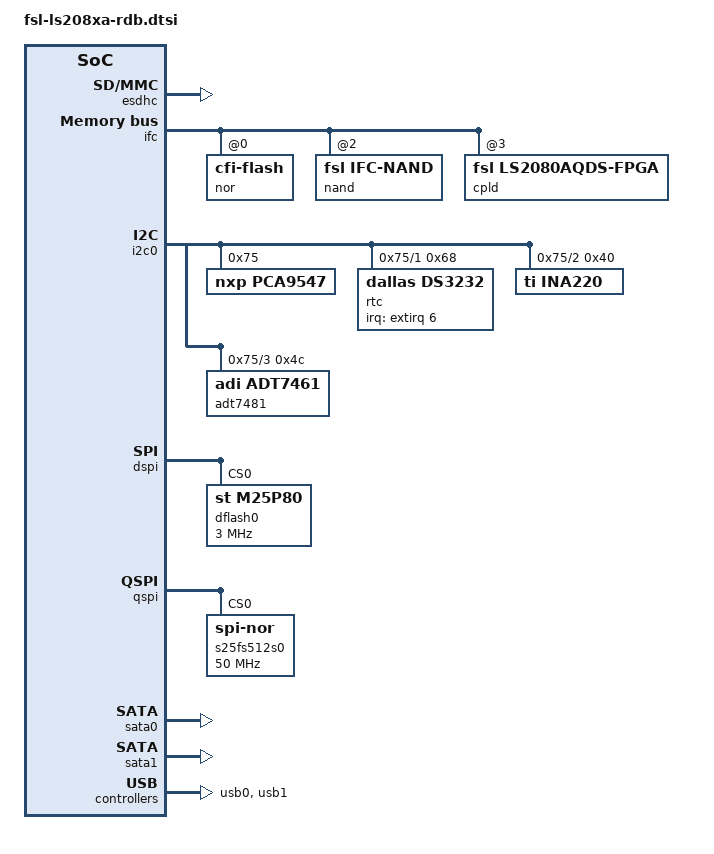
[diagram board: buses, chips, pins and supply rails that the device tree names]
// SPDX-License-Identifier: (GPL-2.0+ OR MIT)
/*
 * Device Tree file for Freescale LS2080A RDB Board.
 *
 * Copyright 2016 Freescale Semiconductor, Inc.
 * Copyright 2017-2020 NXP
 *
 * Abhimanyu Saini <abhimanyu.saini@nxp.com>
 *
 */

&esdhc {
	status = "okay";
};

&ifc {
	status = "okay";
	#address-cells = <2>;
	#size-cells = <1>;
	ranges = <0x0 0x0 0x5 0x80000000 0x08000000
		  0x2 0x0 0x5 0x30000000 0x00010000
		  0x3 0x0 0x5 0x20000000 0x00010000>;

	nor@0,0 {
		#address-cells = <1>;
		#size-cells = <1>;
		compatible = "cfi-flash";
		reg = <0x0 0x0 0x8000000>;
		bank-width = <2>;
		device-width = <1>;
	};

	nand@2,0 {
	     compatible = "fsl,ifc-nand";
	     reg = <0x2 0x0 0x10000>;
	};

	cpld@3,0 {
	     reg = <0x3 0x0 0x10000>;
	     compatible = "fsl,ls2080aqds-fpga", "fsl,fpga-qixis";
	};

};

&i2c0 {
	status = "okay";
	pca9547@75 {
		compatible = "nxp,pca9547";
		reg = <0x75>;
		#address-cells = <1>;
		#size-cells = <0>;
		idle-state = <0>;

		i2c@1 {
			#address-cells = <1>;
			#size-cells = <0>;
			reg = <0x01>;
			rtc@68 {
				compatible = "dallas,ds3232";
				reg = <0x68>;
				/* IRQ_RTC_B -> IRQ06, active low */
				interrupts-extended = <&extirq 6 IRQ_TYPE_LEVEL_LOW>;
			};
		};

		i2c@2 {
			#address-cells = <1>;
			#size-cells = <0>;
			reg = <0x02>;

			ina220@40 {
				compatible = "ti,ina220";
				reg = <0x40>;
				shunt-resistor = <500>;
			};
		};

		i2c@3 {
			#address-cells = <1>;
			#size-cells = <0>;
			reg = <0x3>;

			adt7481@4c {
				compatible = "adi,adt7461";
				reg = <0x4c>;
			};
		};
	};
};

&i2c1 {
	status = "disabled";
};

&i2c2 {
	status = "disabled";
};

&i2c3 {
	status = "disabled";
};

&dspi {
	status = "okay";
	dflash0: flash@0 {
		#address-cells = <1>;
		#size-cells = <1>;
		compatible = "st,m25p80";
		spi-max-frequency = <3000000>;
		reg = <0>;
	};
};

&qspi {
	status = "okay";

	s25fs512s0: flash@0 {
		#address-cells = <1>;
		#size-cells = <1>;
		compatible = "jedec,spi-nor";
		spi-max-frequency = <50000000>;
		reg = <0>;
	};
};

&sata0 {
	status = "okay";
};

&sata1 {
	status = "okay";
};

&usb0 {
	status = "okay";
};

&usb1 {
	status = "okay";
};
